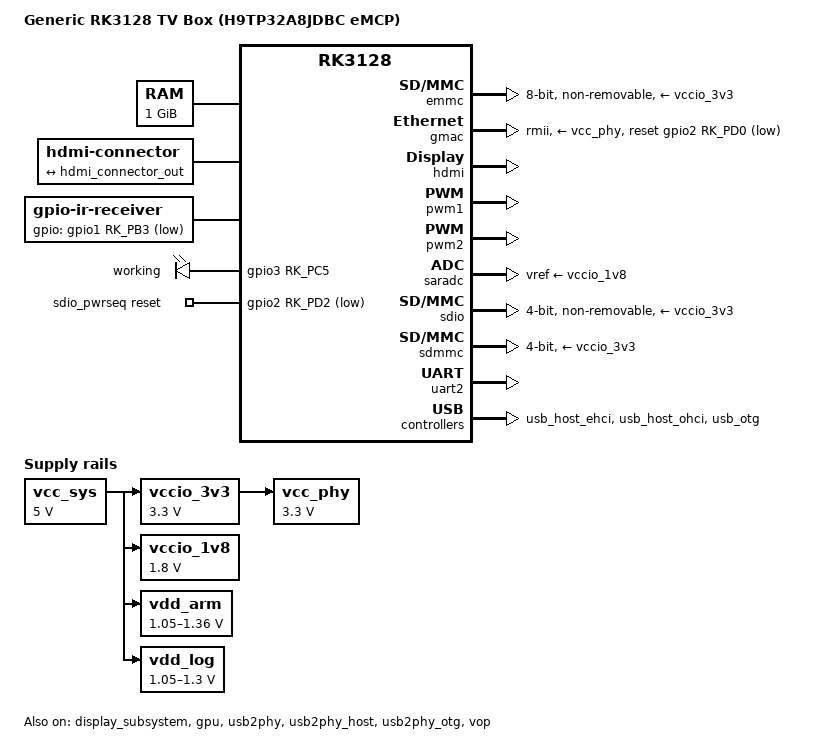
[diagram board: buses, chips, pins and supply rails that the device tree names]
// SPDX-License-Identifier: (GPL-2.0+ OR MIT)
/*
 * Generic Rockchip RK3128 TV box board
 *
 * Tuned for boxes with SKHynix H9TP32A8JDBC eMCP (eMMC + LPDDR package).
 * Based on mainline rk3128.dtsi; hardware variants differ in Wi-Fi, LED and
 * PHY wiring — use DT overlays for board-specific differences.
 */

/dts-v1/;

#include <dt-bindings/gpio/gpio.h>
#include <dt-bindings/input/input.h>
#include <dt-bindings/pinctrl/rockchip.h>
#include <dt-bindings/pwm/pwm.h>
#include "rk3128.dtsi"

/ {
	model = "Generic RK3128 TV Box (H9TP32A8JDBC eMCP)";
	compatible = "rockchip,rk3128-box", "rockchip,rk3128";

	aliases {
		mmc0 = &emmc;
		mmc1 = &sdmmc;
		mmc2 = &sdio;
		serial2 = &uart2;
		ethernet0 = &gmac;
	};

	chosen {
		stdout-path = "serial2:115200n8";
	};

	memory@60000000 {
		device_type = "memory";
		/* Upper bound; actual size is detected from firmware/DT updates */
		reg = <0x60000000 0x40000000>;
	};

	vcc_sys: regulator-vcc-sys {
		compatible = "regulator-fixed";
		regulator-name = "vcc_sys";
		regulator-min-microvolt = <5000000>;
		regulator-max-microvolt = <5000000>;
		regulator-always-on;
		regulator-boot-on;
	};

	vccio_3v3: regulator-vccio-3v3 {
		compatible = "regulator-fixed";
		regulator-name = "vccio_3v3";
		regulator-min-microvolt = <3300000>;
		regulator-max-microvolt = <3300000>;
		regulator-always-on;
		regulator-boot-on;
		vin-supply = <&vcc_sys>;
	};

	vccio_1v8: regulator-vccio-1v8 {
		compatible = "regulator-fixed";
		regulator-name = "vccio_1v8";
		regulator-min-microvolt = <1800000>;
		regulator-max-microvolt = <1800000>;
		regulator-always-on;
		regulator-boot-on;
		vin-supply = <&vcc_sys>;
	};

	vcc_phy: regulator-vcc-phy {
		compatible = "regulator-fixed";
		regulator-name = "vcc_phy";
		regulator-min-microvolt = <3300000>;
		regulator-max-microvolt = <3300000>;
		regulator-always-on;
		regulator-boot-on;
		vin-supply = <&vccio_3v3>;
	};

	vdd_arm: regulator-vdd-arm {
		compatible = "pwm-regulator";
		pwms = <&pwm1 0 25000 1>;
		pwm-supply = <&vcc_sys>;
		regulator-name = "vdd_arm";
		regulator-min-microvolt = <1050000>;
		regulator-max-microvolt = <1360000>;
		regulator-always-on;
		regulator-boot-on;
	};

	vdd_log: regulator-vdd-log {
		compatible = "pwm-regulator";
		pwms = <&pwm2 0 25000 1>;
		pwm-supply = <&vcc_sys>;
		regulator-name = "vdd_log";
		regulator-min-microvolt = <1050000>;
		regulator-max-microvolt = <1300000>;
		regulator-always-on;
		regulator-boot-on;
	};

	hdmi-connector {
		compatible = "hdmi-connector";
		type = "a";

		port {
			hdmi_connector_in: endpoint {
				remote-endpoint = <&hdmi_connector_out>;
			};
		};
	};

	ir-receiver {
		compatible = "gpio-ir-receiver";
		gpios = <&gpio1 RK_PB3 GPIO_ACTIVE_LOW>;
		pinctrl-names = "default";
		pinctrl-0 = <&ir_int>;
		status = "okay";
	};

	gpio-leds {
		compatible = "gpio-leds";

		led-working {
			/* Common working LED on many RK3128 boxes; may need overlay */
			gpios = <&gpio3 RK_PC5 GPIO_ACTIVE_HIGH>;
			label = "working";
			default-state = "on";
			linux,default-trigger = "heartbeat";
			pinctrl-names = "default";
			pinctrl-0 = <&led_working>;
		};
	};

	sdio_pwrseq: sdio-pwrseq {
		compatible = "mmc-pwrseq-simple";
		pinctrl-names = "default";
		pinctrl-0 = <&wifi_enable_h>;
		/*
		 * Wi-Fi enable GPIO is board-dependent. Default matches common
		 * RK312x TV box wiring (GPIO2_D2); override with overlay if needed.
		 */
		reset-gpios = <&gpio2 RK_PD2 GPIO_ACTIVE_LOW>;
	};
};

/*
 * Fixed RK3128-safe OPP voltages for PWM CPU rail on TV boxes.
 * Drop awkward 696 MHz point; raise low OPPs above the PWM floor.
 */
&cpu_opp_table {
	/delete-node/ opp-696000000;

	opp-216000000 {
		opp-microvolt = <1050000>;
	};
	opp-408000000 {
		opp-microvolt = <1050000>;
	};
	opp-600000000 {
		opp-microvolt = <1100000>;
	};
	opp-816000000 {
		opp-microvolt = <1200000>;
	};
	opp-1008000000 {
		opp-microvolt = <1200000>;
	};
	opp-1200000000 {
		opp-microvolt = <1350000>;
	};
};

&cpu0 {
	cpu-supply = <&vdd_arm>;
};

&display_subsystem {
	status = "okay";
};

/*
 * SKHynix H9TP32A8JDBC eMCP: 8-bit eMMC with HS200 capability.
 * Conservative defaults; raise max-frequency via overlay if stable on a given board.
 */
&emmc {
	bus-width = <8>;
	cap-mmc-highspeed;
	mmc-hs200-1_8v;
	non-removable;
	no-sd;
	no-sdio;
	disable-wp;
	keep-power-in-suspend;
	max-frequency = <150000000>;
	vmmc-supply = <&vccio_3v3>;
	vqmmc-supply = <&vccio_1v8>;
	pinctrl-names = "default";
	pinctrl-0 = <&emmc_clk &emmc_cmd &emmc_bus8>;
	status = "okay";
};

&gmac {
	clock_in_out = "output";
	phy-supply = <&vcc_phy>;
	phy-mode = "rmii";
	assigned-clocks = <&cru SCLK_MAC_SRC>;
	assigned-clock-rates = <50000000>;
	pinctrl-names = "default";
	pinctrl-0 = <&rmii_pins>;
	snps,reset-gpio = <&gpio2 RK_PD0 GPIO_ACTIVE_LOW>;
	snps,reset-active-low;
	snps,reset-delays-us = <0 10000 50000>;
	/* Scan MDIO for the first PHY (address varies between box vendors) */
	status = "okay";
};

&gpu {
	mali-supply = <&vdd_log>;
	status = "okay";
};

&hdmi {
	status = "okay";
};

&hdmi_out {
	hdmi_connector_out: endpoint {
		remote-endpoint = <&hdmi_connector_in>;
	};
};

&pinctrl {
	ir-receiver {
		ir_int: ir-int {
			rockchip,pins = <1 RK_PB3 RK_FUNC_GPIO &pcfg_pull_none>;
		};
	};

	leds {
		led_working: led-working {
			rockchip,pins = <3 RK_PC5 RK_FUNC_GPIO &pcfg_pull_none>;
		};
	};

	sdio-pwrseq {
		wifi_enable_h: wifi-enable-h {
			rockchip,pins = <2 RK_PD2 RK_FUNC_GPIO &pcfg_pull_none>;
		};
	};
};

&pwm1 {
	status = "okay";
};

&pwm2 {
	status = "okay";
};

&saradc {
	vref-supply = <&vccio_1v8>;
	status = "okay";
};

&sdio {
	bus-width = <4>;
	cap-sd-highspeed;
	cap-sdio-irq;
	keep-power-in-suspend;
	mmc-pwrseq = <&sdio_pwrseq>;
	non-removable;
	no-mmc;
	no-sd;
	vmmc-supply = <&vccio_3v3>;
	pinctrl-names = "default";
	pinctrl-0 = <&sdio_bus4 &sdio_cmd &sdio_clk>;
	status = "okay";
};

&sdmmc {
	bus-width = <4>;
	cap-mmc-highspeed;
	cap-sd-highspeed;
	disable-wp;
	vmmc-supply = <&vccio_3v3>;
	pinctrl-names = "default";
	pinctrl-0 = <&sdmmc_clk &sdmmc_cmd &sdmmc_bus4>;
	status = "okay";
};

&uart2 {
	status = "okay";
};

&usb2phy {
	status = "okay";
};

&usb2phy_host {
	status = "okay";
};

&usb2phy_otg {
	status = "okay";
};

&usb_host_ehci {
	status = "okay";
};

&usb_host_ohci {
	status = "okay";
};

&usb_otg {
	status = "okay";
};

&vop {
	status = "okay";
};
